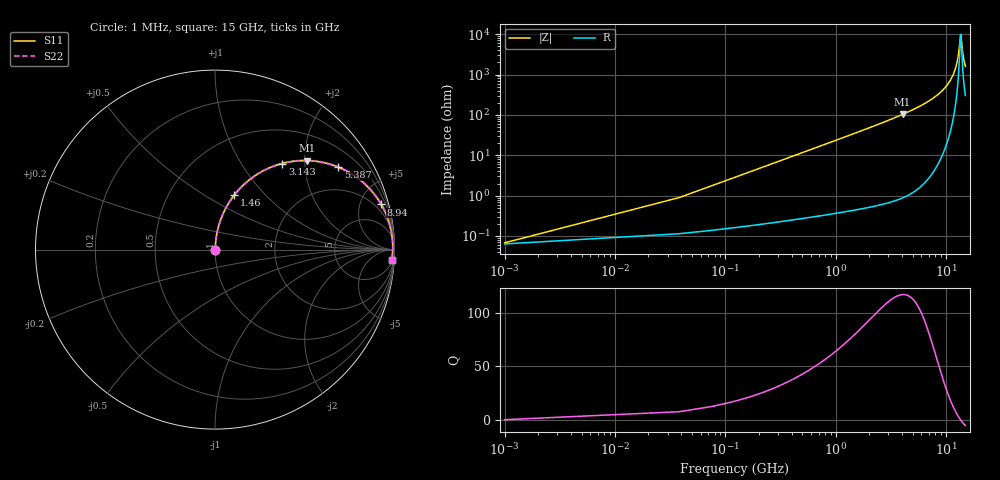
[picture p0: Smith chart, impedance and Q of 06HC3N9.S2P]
! Coilcraft 0603HC-3N9 Chip Inductor
! 03 June 2002
# MHZ S MA R 50
!Freq  MagS11  AngS11  MagS21  AngS21  MagS12  AngS12  MagS22  AngS22
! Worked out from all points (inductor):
!   403 points, 1 MHz to 15 GHz, reference 50 ohm
!   read as one part in series: L = 3.7 nH near 75.8 MHz
!   highest Q = 117 at 4.04 GHz (marker M1), where L = 4.06 nH
!   self-resonance near 13.58 GHz
!   S11 on the Smith chart (normalised r, x): 1 MHz: 1.00, +0.00; 1.46 GHz: 1.01, +0.69; 3.143 GHz: 1.01, +1.54; 5.387 GHz: 1.03, +2.97; 8.94 GHz: 1.16, +7.31; 15 GHz: 7, -31
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1  0.0006777 20.0  0.9994 -0.0  0.9994 -0.0  0.0006777 20.0
113.2  0.02631 85.1  0.9981 -1.5  0.9981 -1.5  0.02631 85.1
188  0.04363 85.1  0.9972 -2.5  0.9972 -2.5  0.04363 85.1
300.2  0.06954 84.2  0.9954 -4.0  0.9954 -4.0  0.06954 84.2
487.2  0.1124 82.2  0.991 -6.5  0.991 -6.5  0.1124 82.2
749  0.1715 79.1  0.982 -9.9  0.982 -9.9  0.1715 79.1
1459.6  0.3234 70.4  0.9422 -18.9  0.9422 -18.9  0.3234 70.4
2506.8  0.5144 58.5  0.8526 -31.0  0.8526 -31.0  0.5144 58.5
3142.6  0.6084 52.0  0.7882 -37.5  0.7882 -37.5  0.6084 52.0
4040.2  0.7145 43.9  0.6936 -45.6  0.6936 -45.6  0.7145 43.9
5012.6  0.7998 36.4  0.5932 -53.1  0.5932 -53.1  0.7998 36.4
5386.6  0.826 33.8  0.5562 -55.7  0.5562 -55.7  0.826 33.8
7518.4  0.9249 21.6  0.3675 -67.6  0.3675 -67.6  0.9249 21.6
8939.6  0.9592 15.2  0.2623 -73.5  0.2623 -73.5  0.9592 15.2
10024.2  0.975 11.0  0.1914 -77.0  0.1914 -77.0  0.975 11.0
11520.2  0.9867 6.0  0.1046 -79.7  0.1046 -79.7  0.9867 6.0
12530  0.9898 3.0  0.05241 -77.3  0.05241 -77.3  0.9898 3.0
12978.8  0.9903 1.7  0.03105 -70.9  0.03105 -70.9  0.9903 1.7
13502.4  0.9901 0.3  0.01104 -25.9  0.01104 -25.9  0.9901 0.3
13614.6  0.99 -0.0  0.01004 1.7  0.01004 1.7  0.99 -0.0
14287.8  0.9887 -1.7  0.03233 68.7  0.03233 68.7  0.9887 -1.7
15000  0.9864 -3.5  0.0619 75.6  0.0619 75.6  0.9864 -3.5
